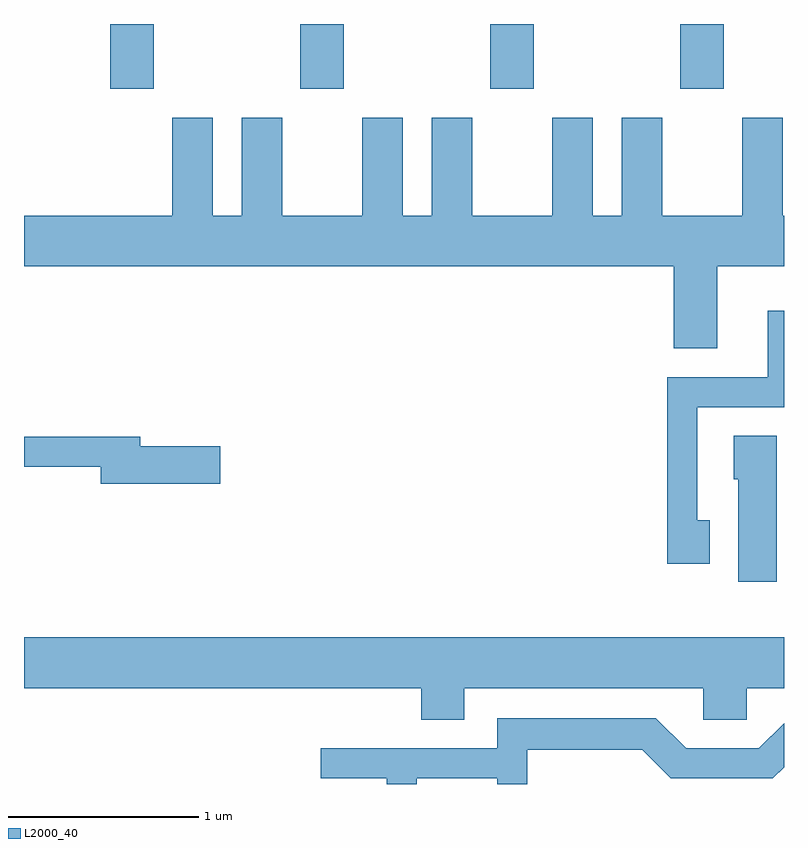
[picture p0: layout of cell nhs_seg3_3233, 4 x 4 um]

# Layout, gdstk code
import gdstk
lib = gdstk.Library(unit=1e-6, precision=1e-09)
def R(c, l, rs):  # rectangles x0, y0, x1, y1
    for r in rs: c.add(gdstk.rectangle(r[:2], r[2:], *l))
def A(c, l, x, y, w, h, nx, ny, dx, dy):  # array of equal rectangles
    R(c, l, [(x+i*dx, y+j*dy, x+i*dx+w, y+j*dy+h) for i in range(nx) for j in range(ny)])
def P(c, l, *ps):  # polygons
    for p in ps: c.add(gdstk.Polygon(p, *l))
L2000_40 = (2000, 40)

nhs_seg3_3233 = lib.new_cell('nhs_seg3_3233')
A(nhs_seg3_3233, L2000_40, 280.066, 1193.551, 0.228, 0.341, 4, 1, 1, 0)
P(nhs_seg3_3233, L2000_40, [(283.259,1192.616),(283.611,1192.616),(283.611,1192.884),(283.604,1192.884),(283.604,1193.399),(283.391,1193.399),(283.391,1192.884),(282.969,1192.884),(282.969,1193.399),(282.756,1193.399),(282.756,1192.884),(282.604,1192.884),(282.604,1193.399),(282.391,1193.399),(282.391,1192.884),(281.969,1192.884),(281.969,1193.399),(281.756,1193.399),(281.756,1192.884),(281.604,1192.884),(281.604,1193.399),(281.391,1193.399),(281.391,1192.884),(280.969,1192.884),(280.969,1193.399),(280.756,1193.399),(280.756,1192.884),(280.604,1192.884),(280.604,1193.399),(280.391,1193.399),(280.391,1192.884),(279.611,1192.884),(279.611,1192.616),(283.031,1192.616),(283.031,1192.186),(283.259,1192.186)],
  [(283.219,1191.279),(283.154,1191.279),(283.154,1191.876),(283.611,1191.876),(283.611,1192.383),(283.526,1192.383),(283.526,1192.034),(282.996,1192.034),(282.996,1191.051),(283.219,1191.051)],
  [(283.574,1191.724),(283.346,1191.724),(283.346,1191.496),(283.371,1191.496),(283.371,1190.956),(283.574,1190.956)],
  [(280.644,1191.669),(280.224,1191.669),(280.224,1191.719),(279.611,1191.719),(279.611,1191.561),(280.016,1191.561),(280.016,1191.471),(280.644,1191.471)],
  [(281.929,1190.396),(283.186,1190.396),(283.186,1190.231),(283.414,1190.231),(283.414,1190.396),(283.611,1190.396),(283.611,1190.664),(279.611,1190.664),(279.611,1190.396),(281.701,1190.396),(281.701,1190.231),(281.929,1190.231)],
  [(281.679,1189.921),(282.101,1189.921),(282.101,1189.892),(282.259,1189.892),(282.259,1190.071),(282.864,1190.071),(283.014,1189.921),(283.552,1189.921),(283.611,1189.981),(283.611,1190.211),(283.479,1190.079),(283.097,1190.079),(282.937,1190.239),(282.101,1190.239),(282.101,1190.079),(281.173,1190.079),(281.173,1189.921),(281.521,1189.921),(281.521,1189.892),(281.679,1189.892)])

lib.write_gds('nhs_seg3_3233.gds')
